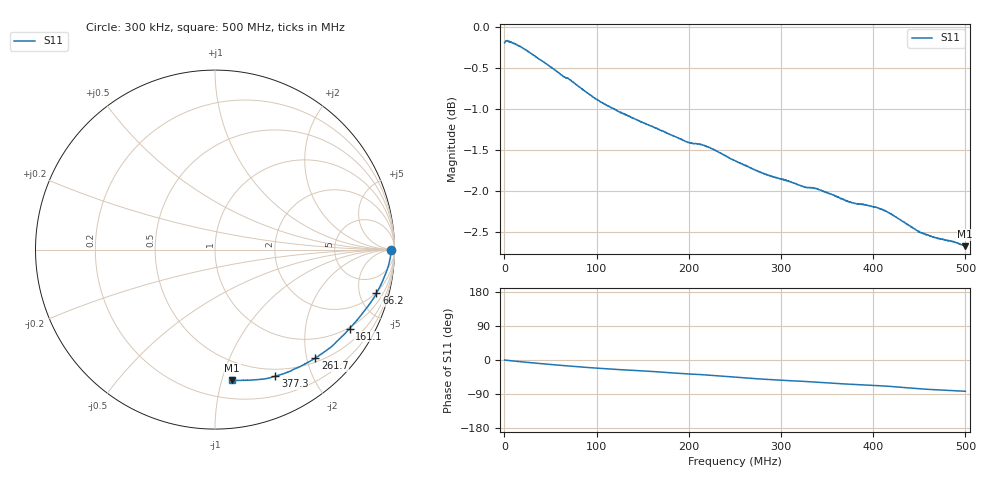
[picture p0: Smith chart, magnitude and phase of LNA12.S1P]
!Agilent Technologies,E5071C,MY46214392,A.11.36
!Date: Wed May 27 13:04:36 2026
!Data & Calibration Information:
!Freq	S11:SOLT1(ON)
!PortZ  Port1:50+j0
!Above PortZ is port z conversion or system Z0 setting when saving the data.
!When reading, reference impedance value at option line is always used.
# Hz S RI R 50
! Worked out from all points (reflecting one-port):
!   1601 points, 300 kHz to 500 MHz, reference 50 ohm
!   lowest |S11| = -2.7 dB at 499.7 MHz (marker M1), VSWR 6.54, Z = 17.1 - j54 ohm
!   phase of S11 starts at -0 deg and turns -82 deg over the sweep
!   S11 on the Smith chart (normalised r, x): 300 kHz: 90, -6; 66.2 MHz: 1.91, -7.02; 161.1 MHz: 0.96, -3.43; 261.7 MHz: 0.57, -2.16; 377.3 MHz: 0.42, -1.50; 500 MHz: 0.34, -1.08
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300000  0.9781 -0.00152
9044750  0.9773 -0.0415
2.247419e7  0.9642 -0.0965
3.77775e7  0.9439 -0.1521
6.27625e7  0.9046 -0.2322
6.619794e7  0.8992 -0.2431
9.336912e7  0.8521 -0.3157
1.25225e8  0.8014 -0.3808
1.611409e8  0.7495 -0.4398
1.876875e8  0.7019 -0.4899
1.986184e8  0.6821 -0.508
2.129848e8  0.6634 -0.5281
2.220419e8  0.6474 -0.542
2.5015e8  0.5847 -0.5872
2.617056e8  0.5583 -0.605
2.810689e8  0.5166 -0.6289
3.126125e8  0.4613 -0.6577
3.360359e8  0.4242 -0.6745
3.75075e8  0.3406 -0.7036
3.772612e8  0.3361 -0.7049
3.894414e8  0.3196 -0.7108
4.116156e8  0.2822 -0.7192
4.212972e8  0.2593 -0.722
4.375375e8  0.2146 -0.7259
4.487808e8  0.1836 -0.7277
4.544024e8  0.1716 -0.7276
4.996877e8  0.0955 -0.7284
5e8  0.0952 -0.7286
